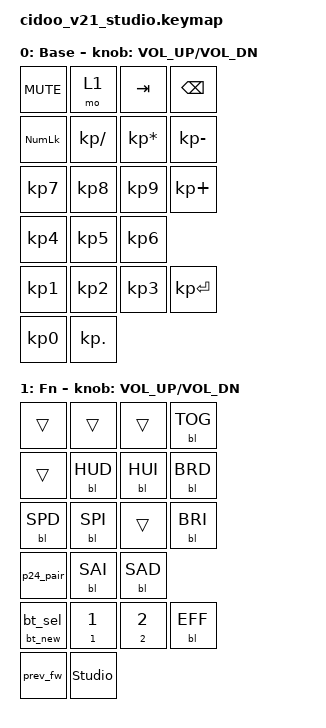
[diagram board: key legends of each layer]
/*
 * SPDX-License-Identifier: GPL-3.0-or-later
 */

/*
 * CIDOO V21 keymap for the own BLE stack (TLSR_BLE) with ZMK Studio; the same as
 * cidoo_v21_ble.keymap but for Fn + KP. (the numpad's Del), which unlocks ZMK Studio (&studio_unlock), and
 * Studio's USB serial port (CDC ACM).
 * That keymap is the same as cidoo_v21.keymap but for the original firmware's BLE channel keys (Fn + KP1/KP2/KP3):
 * a tap selects ZMK profile 0/1/2, held 3 s it selects it and clears its bond;
 * and the original firmware's 2.4G pairing key (Fn + KP4 held 3 s, &p24_pair).
 * Generated by gen_v21.py from the original keymap's layers 0 (Base) and 1 (Fn).
 * Original knob: left = &kp C_VOL_DN, right = &kp C_VOL_UP, press = 1,11.
 * Original keymap positions not in the VIA layout (no key on the board): 0,0 &kp ESC, 0,11 &kp BSPC, 1,9 &kp KP_COMMA.
 */

#include <behaviors.dtsi>
#include <dt-bindings/zmk/keys.h>
#include <dt-bindings/zmk/rgb.h>
#include <dt-bindings/zmk/bt.h>

/ {
    chosen {
        zmk,studio-rpc-uart = &studio_rpc_usb_uart;
    };

    macros {
        bt_sel: bt_sel {
            compatible = "zmk,behavior-macro-one-param";
            #binding-cells = <1>;
            bindings = <&macro_param_1to2>, <&bt BT_SEL MACRO_PLACEHOLDER>;
        };
        bt_new: bt_new {
            compatible = "zmk,behavior-macro-one-param";
            #binding-cells = <1>;
            bindings = <&macro_param_1to2>, <&bt BT_SEL MACRO_PLACEHOLDER>, <&bt BT_CLR>;
        };
    };

    behaviors {
        /* The original firmware's 2.4G pairing key, Fn + KP4 held 3 s (the 2.4G position only) */
        p24_pair: p24_pair {
            compatible = "zmk,behavior-p24-pair";
            #binding-cells = <0>;
            hold-ms = <3000>;
        };
        bt_ch: bt_ch {
            compatible = "zmk,behavior-hold-tap";
            #binding-cells = <2>;
            flavor = "tap-preferred";
            tapping-term-ms = <3000>;
            bindings = <&bt_new>, <&bt_sel>;
        };
    };

    keymap {
        compatible = "zmk,keymap";

        base_layer {
            display-name = "Base";
            bindings = <
                &kp C_MUTE       &mo 1            &kp TAB          &kp BSPC
                &kp KP_NUMLOCK   &kp KP_DIVIDE    &kp KP_MULTIPLY  &kp KP_MINUS
                &kp KP_N7        &kp KP_N8        &kp KP_N9        &kp KP_PLUS
                &kp KP_N4        &kp KP_N5        &kp KP_N6
                &kp KP_N1        &kp KP_N2        &kp KP_N3        &kp KP_ENTER
                &kp KP_N0        &kp KP_DOT
            >;
            sensor-bindings = <&inc_dec_kp C_VOL_UP C_VOL_DN>;
        };

        fn_layer {
            display-name = "Fn";
            bindings = <
                &trans           &trans           &trans           &bl RGB_TOG
                &trans           &bl RGB_HUD      &bl RGB_HUI      &bl RGB_BRD
                &bl RGB_SPD      &bl RGB_SPI      &trans           &bl RGB_BRI
                &p24_pair        &bl RGB_SAI      &bl RGB_SAD
                &bt_ch 0 0       &bt_ch 1 1       &bt_ch 2 2       &bl RGB_EFF
                &prev_fw         &studio_unlock
            >;
            sensor-bindings = <&inc_dec_kp C_VOL_UP C_VOL_DN>;
        };
    };
};

/* ZMK Studio's serial port */
&usbd {
    studio_rpc_usb_uart: studio_rpc_usb_uart {
        compatible = "zephyr,cdc-acm-uart";
    };
};

/* Not on these keyboards: &sys_reset only reboots (settings stay), and &bootloader has no
 * bootloader to enter (firmware updates go through the update tool). */
&sys_reset {
	status = "disabled";
};

&bootloader {
	status = "disabled";
};
